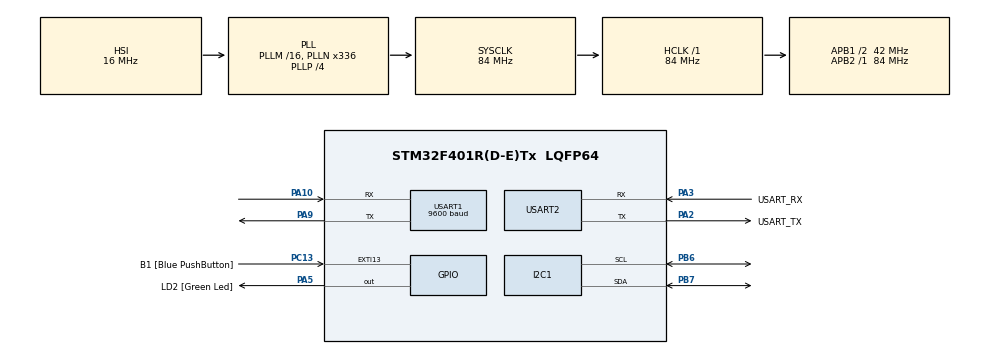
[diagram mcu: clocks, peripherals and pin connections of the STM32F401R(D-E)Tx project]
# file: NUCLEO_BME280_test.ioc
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Mcu.Family=STM32F4
Mcu.Name=STM32F401R(D-E)Tx
Mcu.Package=LQFP64
NVIC.PriorityGroup=NVIC_PRIORITYGROUP_4
PA10.Mode=Asynchronous
PA10.Signal=USART1_RX
PA13.GPIO_Label=TMS
PA13.Mode=Serial_Wire
PA13.Signal=SYS_JTMS-SWDIO
PA14.GPIO_Label=TCK
PA14.Mode=Serial_Wire
PA14.Signal=SYS_JTCK-SWCLK
PA2.GPIO_Label=USART_TX
PA2.GPIO_Mode=GPIO_MODE_AF_PP
PA2.GPIO_PuPd=GPIO_NOPULL
PA2.GPIO_Speed=GPIO_SPEED_FREQ_LOW
PA2.Mode=Asynchronous
PA2.Signal=USART2_TX
PA3.GPIO_Label=USART_RX
PA3.GPIO_Mode=GPIO_MODE_AF_PP
PA3.GPIO_PuPd=GPIO_NOPULL
PA3.GPIO_Speed=GPIO_SPEED_FREQ_LOW
PA3.Mode=Asynchronous
PA3.Signal=USART2_RX
PA5.GPIO_Label=LD2 [Green Led]
PA5.GPIO_Mode=GPIO_MODE_OUTPUT_PP
PA5.GPIO_PuPd=GPIO_NOPULL
PA5.GPIO_Speed=GPIO_SPEED_FREQ_LOW
PA5.Signal=GPIO_Output
PA9.Mode=Asynchronous
PA9.Signal=USART1_TX
PB3.GPIO_Label=SWO
PB3.Signal=SYS_JTDO-SWO
PB6.Mode=I2C
PB6.Signal=I2C1_SCL
PB7.Mode=I2C
PB7.Signal=I2C1_SDA
PC13-ANTI_TAMP.GPIO_Label=B1 [Blue PushButton]
PC13-ANTI_TAMP.GPIO_ModeDefaultEXTI=GPIO_MODE_IT_FALLING
PC13-ANTI_TAMP.GPIO_PuPd=GPIO_NOPULL
PC13-ANTI_TAMP.Signal=GPXTI13
PC14-OSC32_IN.Mode=LSE-External-Oscillator
PC14-OSC32_IN.Signal=RCC_OSC32_IN
PC15-OSC32_OUT.Mode=LSE-External-Oscillator
PC15-OSC32_OUT.Signal=RCC_OSC32_OUT
PH0\ -\ OSC_IN.Mode=HSE-External-Clock-Source
PH0\ -\ OSC_IN.Signal=RCC_OSC_IN
PH1\ -\ OSC_OUT.Mode=HSE-External-Clock-Source
PH1\ -\ OSC_OUT.Signal=RCC_OSC_OUT
ProjectManager.HeapSize=0x200
ProjectManager.StackSize=0x400
ProjectManager.TargetToolchain=MDK-ARM V5.32
RCC.48MHZClocksFreq_Value=48000000
RCC.AHBFreq_Value=84000000
RCC.APB1CLKDivider=RCC_HCLK_DIV2
RCC.APB1Freq_Value=42000000
RCC.APB1TimFreq_Value=84000000
RCC.APB2Freq_Value=84000000
RCC.APB2TimFreq_Value=84000000
RCC.CortexFreq_Value=84000000
RCC.HCLKFreq_Value=84000000
RCC.HSE_VALUE=8000000
RCC.HSI_VALUE=16000000
RCC.PLLN=336
RCC.PLLP=RCC_PLLP_DIV4
RCC.PLLQ=7
RCC.SYSCLKFreq_VALUE=84000000
RCC.SYSCLKSource=RCC_SYSCLKSOURCE_PLLCLK
RCC.VCOOutputFreq_Value=336000000
USART1.BaudRate=9600
USART1.VirtualMode=VM_ASYNC
USART2.VirtualMode=VM_ASYNC
board=NUCLEO-F401RE

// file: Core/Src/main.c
/* USER CODE BEGIN Header */
/**
  ******************************************************************************
  * @file           : main.c
  * @brief          : Main program body
  ******************************************************************************
  * @attention
  *
  * Copyright (c) 2026 STMicroelectronics.
  * All rights reserved.
  *
  * This software is licensed under terms that can be found in the LICENSE file
  * in the root directory of this software component.
  * If no LICENSE file comes with this software, it is provided AS-IS.
  *
  ******************************************************************************
  */
/* USER CODE END Header */
#include "main.h"
#include <stdio.h>
/* USER CODE BEGIN Includes */
#include "bme280.h"
/* USER CODE END Includes */

I2C_HandleTypeDef hi2c1;

UART_HandleTypeDef huart1;
UART_HandleTypeDef huart2;

/* USER CODE BEGIN PV */
volatile uint32_t check76, check77;

struct bme280_dev dev;
struct bme280_data comp_data;
struct bme280_settings settings;

int8_t rslt;
float temperature, pressure,humidity;

/* USER CODE END PV */

void SystemClock_Config(void);
static void MX_GPIO_Init(void);
static void MX_I2C1_Init(void);
static void MX_USART2_UART_Init(void);
static void MX_USART1_UART_Init(void);
/* USER CODE BEGIN PFP */

/* USER CODE BEGIN PFP */
int8_t user_i2c_read(uint8_t reg_addr, uint8_t *reg_data,
                     uint32_t len, void *intf_ptr);

int8_t user_i2c_write(uint8_t reg_addr, const uint8_t *reg_data,
                      uint32_t len, void *intf_ptr);

void user_delay_us(uint32_t period, void *intf_ptr);
/* USER CODE END PFP */

int main(void)
{

  /* MCU Configuration--------------------------------------------------------*/

  /* Reset of all peripherals, Initializes the Flash interface and the Systick. */
  HAL_Init();

  /* Configure the system clock */
  SystemClock_Config();

  /* Initialize all configured peripherals */
  MX_GPIO_Init();
  MX_I2C1_Init();
  MX_USART2_UART_Init();
  MX_USART1_UART_Init();
  /* USER CODE BEGIN 2 */
	static uint8_t dev_addr = BME280_I2C_ADDR_PRIM;  // 0x76

dev.intf = BME280_I2C_INTF;
dev.intf_ptr = &dev_addr;
dev.read = user_i2c_read;
dev.write = user_i2c_write;
dev.delay_us = user_delay_us;

HAL_Delay(10);
check76 = HAL_I2C_IsDeviceReady(&hi2c1, 0x76 << 1, 3, 100);
check77 = HAL_I2C_IsDeviceReady(&hi2c1, 0x77 << 1, 3, 100);
rslt = bme280_init(&dev);

if (rslt == BME280_OK)
{
    settings.osr_t = BME280_OVERSAMPLING_1X;
    settings.osr_p = BME280_OVERSAMPLING_1X;
    settings.osr_h = BME280_OVERSAMPLING_1X;
    settings.filter = BME280_FILTER_COEFF_OFF;
    settings.standby_time = BME280_STANDBY_TIME_1000_MS;

    rslt = bme280_set_sensor_settings(
        BME280_SEL_OSR_TEMP |
        BME280_SEL_OSR_PRESS |
        BME280_SEL_OSR_HUM |
        BME280_SEL_FILTER |
        BME280_SEL_STANDBY,
        &settings,
        &dev
    );

    if (rslt == BME280_OK)
    {
        rslt = bme280_set_sensor_mode(BME280_POWERMODE_NORMAL, &dev);

		}
}

  /* USER CODE END 2 */

  /* Infinite loop */
  while (1)
  {

    /* USER CODE BEGIN 3 */

		HAL_Delay(1000);

		char test[] = "HELLO FROM NUCLEO\r\n";

HAL_UART_Transmit(&huart1, (uint8_t *)test,
                  sizeof(test) - 1, 1000);

if (rslt == BME280_OK)
{
    rslt = bme280_get_sensor_data(BME280_ALL, &comp_data, &dev);

    if (rslt == BME280_OK)
    {
        temperature = comp_data.temperature;
        pressure = comp_data.pressure / 100.0f;
        humidity = comp_data.humidity;

				char mqttData[100];

int count = snprintf(mqttData, sizeof(mqttData),
                     "%.2f,%.2f,%.2f\n",
                     temperature, pressure, humidity);

if (count > 0 && count < (int)sizeof(mqttData))
{
    /* Send readings to Wemos */
    HAL_UART_Transmit(&huart1, (uint8_t *)mqttData,
                      (uint16_t)count, 1000);

    /* Show the same readings on the laptop */
    HAL_UART_Transmit(&huart2, (uint8_t *)mqttData,
                      (uint16_t)count, 1000);
}
    }
}
  }
  /* USER CODE END 3 */
}

void SystemClock_Config(void)
{
  RCC_OscInitTypeDef RCC_OscInitStruct = {0};
  RCC_ClkInitTypeDef RCC_ClkInitStruct = {0};

  /** Configure the main internal regulator output voltage
  */
  __HAL_RCC_PWR_CLK_ENABLE();
  __HAL_PWR_VOLTAGESCALING_CONFIG(PWR_REGULATOR_VOLTAGE_SCALE2);

  /** Initializes the RCC Oscillators according to the specified parameters
  * in the RCC_OscInitTypeDef structure.
  */
  RCC_OscInitStruct.OscillatorType = RCC_OSCILLATORTYPE_HSI;
  RCC_OscInitStruct.HSIState = RCC_HSI_ON;
  RCC_OscInitStruct.HSICalibrationValue = RCC_HSICALIBRATION_DEFAULT;
  RCC_OscInitStruct.PLL.PLLState = RCC_PLL_ON;
  RCC_OscInitStruct.PLL.PLLSource = RCC_PLLSOURCE_HSI;
  RCC_OscInitStruct.PLL.PLLM = 16;
  RCC_OscInitStruct.PLL.PLLN = 336;
  RCC_OscInitStruct.PLL.PLLP = RCC_PLLP_DIV4;
  RCC_OscInitStruct.PLL.PLLQ = 7;
  if (HAL_RCC_OscConfig(&RCC_OscInitStruct) != HAL_OK)
  {
    Error_Handler();
  }

  /** Initializes the CPU, AHB and APB buses clocks
  */
  RCC_ClkInitStruct.ClockType = RCC_CLOCKTYPE_HCLK|RCC_CLOCKTYPE_SYSCLK
                              |RCC_CLOCKTYPE_PCLK1|RCC_CLOCKTYPE_PCLK2;
  RCC_ClkInitStruct.SYSCLKSource = RCC_SYSCLKSOURCE_PLLCLK;
  RCC_ClkInitStruct.AHBCLKDivider = RCC_SYSCLK_DIV1;
  RCC_ClkInitStruct.APB1CLKDivider = RCC_HCLK_DIV2;
  RCC_ClkInitStruct.APB2CLKDivider = RCC_HCLK_DIV1;

  if (HAL_RCC_ClockConfig(&RCC_ClkInitStruct, FLASH_LATENCY_2) != HAL_OK)
  {
    Error_Handler();
  }
}

static void MX_I2C1_Init(void)
{

  hi2c1.Instance = I2C1;
  hi2c1.Init.ClockSpeed = 100000;
  hi2c1.Init.DutyCycle = I2C_DUTYCYCLE_2;
  hi2c1.Init.OwnAddress1 = 0;
  hi2c1.Init.AddressingMode = I2C_ADDRESSINGMODE_7BIT;
  hi2c1.Init.DualAddressMode = I2C_DUALADDRESS_DISABLE;
  hi2c1.Init.OwnAddress2 = 0;
  hi2c1.Init.GeneralCallMode = I2C_GENERALCALL_DISABLE;
  hi2c1.Init.NoStretchMode = I2C_NOSTRETCH_DISABLE;
  if (HAL_I2C_Init(&hi2c1) != HAL_OK)
  {
    Error_Handler();
  }

}

static void MX_USART1_UART_Init(void)
{

  huart1.Instance = USART1;
  huart1.Init.BaudRate = 9600;
  huart1.Init.WordLength = UART_WORDLENGTH_8B;
  huart1.Init.StopBits = UART_STOPBITS_1;
  huart1.Init.Parity = UART_PARITY_NONE;
  huart1.Init.Mode = UART_MODE_TX_RX;
  huart1.Init.HwFlowCtl = UART_HWCONTROL_NONE;
  huart1.Init.OverSampling = UART_OVERSAMPLING_16;
  if (HAL_UART_Init(&huart1) != HAL_OK)
  {
    Error_Handler();
  }

}

static void MX_USART2_UART_Init(void)
{

  huart2.Instance = USART2;
  huart2.Init.BaudRate = 115200;
  huart2.Init.WordLength = UART_WORDLENGTH_8B;
  huart2.Init.StopBits = UART_STOPBITS_1;
  huart2.Init.Parity = UART_PARITY_NONE;
  huart2.Init.Mode = UART_MODE_TX_RX;
  huart2.Init.HwFlowCtl = UART_HWCONTROL_NONE;
  huart2.Init.OverSampling = UART_OVERSAMPLING_16;
  if (HAL_UART_Init(&huart2) != HAL_OK)
  {
    Error_Handler();
  }

}

static void MX_GPIO_Init(void)
{
  GPIO_InitTypeDef GPIO_InitStruct = {0};

  /* GPIO Ports Clock Enable */
  __HAL_RCC_GPIOC_CLK_ENABLE();
  __HAL_RCC_GPIOH_CLK_ENABLE();
  __HAL_RCC_GPIOA_CLK_ENABLE();
  __HAL_RCC_GPIOB_CLK_ENABLE();

  /*Configure GPIO pin Output Level */
  HAL_GPIO_WritePin(LD2_GPIO_Port, LD2_Pin, GPIO_PIN_RESET);

  /*Configure GPIO pin : B1_Pin */
  GPIO_InitStruct.Pin = B1_Pin;
  GPIO_InitStruct.Mode = GPIO_MODE_IT_FALLING;
  GPIO_InitStruct.Pull = GPIO_NOPULL;
  HAL_GPIO_Init(B1_GPIO_Port, &GPIO_InitStruct);

  /*Configure GPIO pin : LD2_Pin */
  GPIO_InitStruct.Pin = LD2_Pin;
  GPIO_InitStruct.Mode = GPIO_MODE_OUTPUT_PP;
  GPIO_InitStruct.Pull = GPIO_NOPULL;
  GPIO_InitStruct.Speed = GPIO_SPEED_FREQ_LOW;
  HAL_GPIO_Init(LD2_GPIO_Port, &GPIO_InitStruct);

}

/* USER CODE BEGIN 4 */
/* USER CODE BEGIN 4 */

int8_t user_i2c_read(uint8_t reg_addr, uint8_t *reg_data,
                     uint32_t len, void *intf_ptr)
{
    uint8_t address = *(uint8_t *)intf_ptr;

    if (HAL_I2C_Mem_Read(&hi2c1, address << 1,
                         reg_addr, I2C_MEMADD_SIZE_8BIT,
                         reg_data, len, 1000) == HAL_OK)
    {
        return BME280_OK;
    }

    return BME280_E_COMM_FAIL;
}

int8_t user_i2c_write(uint8_t reg_addr, const uint8_t *reg_data,
                      uint32_t len, void *intf_ptr)
{
    uint8_t address = *(uint8_t *)intf_ptr;

    if (HAL_I2C_Mem_Write(&hi2c1, address << 1,
                          reg_addr, I2C_MEMADD_SIZE_8BIT,
                          (uint8_t *)reg_data, len, 1000) == HAL_OK)
    {
        return BME280_OK;
    }

    return BME280_E_COMM_FAIL;
}

void user_delay_us(uint32_t period, void *intf_ptr)
{
    (void)intf_ptr;
    HAL_Delay((period / 1000U) + 1U);
}

/* USER CODE END 4 */

void Error_Handler(void)
{
  __disable_irq();
  while (1)
  {
  }
}
